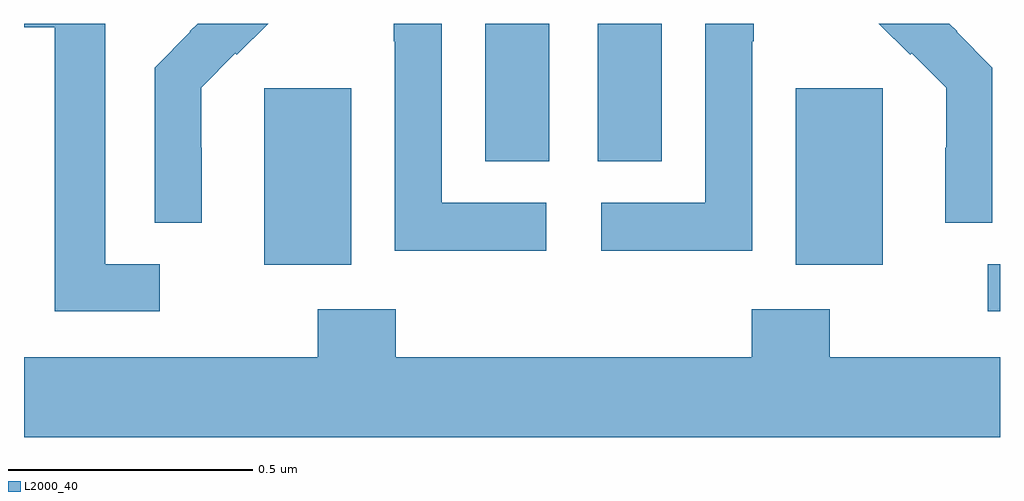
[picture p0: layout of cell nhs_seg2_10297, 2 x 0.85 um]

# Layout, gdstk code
import gdstk
lib = gdstk.Library(unit=1e-6, precision=1e-09)
def R(c, l, rs):  # rectangles x0, y0, x1, y1
    for r in rs: c.add(gdstk.rectangle(r[:2], r[2:], *l))
def P(c, l, *ps):  # polygons
    for p in ps: c.add(gdstk.Polygon(p, *l))
L2000_40 = (2000, 40)

nhs_seg2_10297 = lib.new_cell('nhs_seg2_10297')
R(nhs_seg2_10297, L2000_40, [(240.975,665.211,241,665.307), (239.492,665.306,239.671,665.667), (240.581,665.306,240.76,665.667), (239.945,665.518,240.076,665.8), (240.176,665.518,240.307,665.8)])
P(nhs_seg2_10297, L2000_40, [(240.492,665.764),(240.495,665.764),(240.495,665.8),(240.396,665.8),(240.396,665.433),(240.183,665.433),(240.183,665.335),(240.492,665.335)],
  [(240.984,665.71),(240.911,665.783),(240.912,665.784),(240.896,665.8),(240.752,665.8),(240.816,665.736),(240.819,665.739),(240.89,665.669),(240.89,665.546),(240.888,665.546),(240.888,665.392),(240.984,665.392)],
  [(239.364,665.546),(239.363,665.546),(239.363,665.669),(239.433,665.739),(239.436,665.736),(239.5,665.8),(239.356,665.8),(239.34,665.784),(239.341,665.783),(239.268,665.71),(239.268,665.392),(239.364,665.392)],
  [(240.07,665.433),(239.856,665.433),(239.856,665.8),(239.758,665.8),(239.758,665.764),(239.76,665.764),(239.76,665.335),(240.07,665.335)],
  [(239.278,665.307),(239.167,665.307),(239.167,665.8),(239,665.8),(239,665.792),(239.063,665.792),(239.063,665.211),(239.278,665.211)],
  [(241,665.116),(240.651,665.116),(240.651,665.215),(240.491,665.215),(240.491,665.116),(239.762,665.116),(239.762,665.215),(239.602,665.215),(239.602,665.116),(239,665.116),(239,664.952),(241,664.952)])

lib.write_gds('nhs_seg2_10297.gds')
